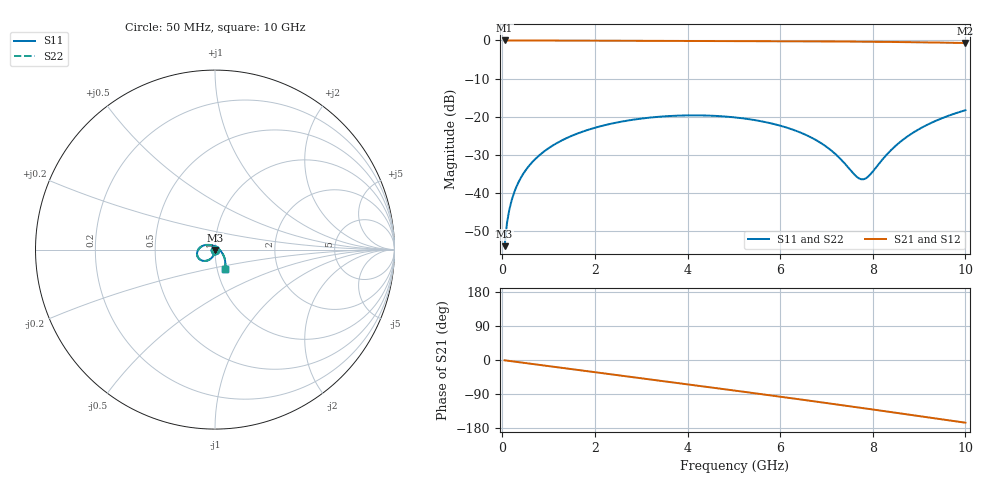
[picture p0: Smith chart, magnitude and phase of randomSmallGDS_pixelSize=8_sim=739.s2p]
! freq	dB(S11)	phase(S11)	dB(S12)	phase(S12)
!  dB(S21)	phase(S21)	dB(S22)	phase(S22)
!S-par simulation data
#  GHz  S  DB  R 50
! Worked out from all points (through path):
!   200 points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, 50 MHz to 10 GHz, reference 50 ohm
!   highest |S21| = 0.00 dB at 50 MHz (marker M1); lowest = -0.7 dB at 10 GHz (marker M2)
!   group delay of S21, straight-line fit = 45.8 ps
!   lowest |S11| = -53.9 dB at 50 MHz (marker M3), VSWR 1.00, Z = 50 - j0.202 ohm
!   |S11| at or under -10 dB: start of sweep to end of sweep
!   |S22| runs from -53.9 to -18.3 dB; largest |S21 - S12| = 0
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0.05  -53.89 -90.8  -0.00 -0.8  -0.00 -0.8  -53.89 -90.8
0.1  -47.92 -92.1  -0.00 -1.6  -0.00 -1.6  -47.92 -92.1
0.15  -44.44 -93.0  -0.01 -2.4  -0.01 -2.4  -44.44 -93.0
0.2  -41.97 -93.9  -0.01 -3.2  -0.01 -3.2  -41.97 -93.9
0.35  -37.15 -96.3  -0.01 -5.7  -0.01 -5.7  -37.15 -96.3
0.5  -34.08 -98.8  -0.01 -8.1  -0.01 -8.1  -34.08 -98.8
0.7  -31.21 -102.1  -0.02 -11.3  -0.02 -11.3  -31.21 -102.1
1  -28.22 -107.1  -0.02 -16.1  -0.02 -16.1  -28.22 -107.1
1.75  -23.82 -119.4  -0.05 -28.1  -0.05 -28.1  -23.82 -119.5
2.5  -21.43 -131.7  -0.07 -40.1  -0.07 -40.1  -21.43 -131.7
3.4  -19.97 -146.5  -0.11 -54.5  -0.11 -54.5  -19.97 -146.5
5.05  -20.19 -175.0  -0.16 -81.2  -0.16 -81.2  -20.19 -175.0
5.95  -22.16 167.6  -0.19 -95.9  -0.19 -95.9  -22.15 167.4
6.7  -25.60 149.3  -0.23 -108.5  -0.23 -108.5  -25.59 149.0
7.15  -29.29 132.2  -0.26 -116.1  -0.26 -116.1  -29.27 131.8
7.6  -35.08 91.6  -0.30 -123.8  -0.30 -123.8  -34.96 91.0
7.75  -36.37 63.3  -0.31 -126.3  -0.31 -126.3  -36.18 63.1
7.9  -35.67 32.4  -0.33 -128.9  -0.33 -128.9  -35.50 32.8
8.35  -29.27 -16.2  -0.38 -136.7  -0.38 -136.7  -29.22 -15.7
8.65  -26.03 -29.9  -0.43 -141.9  -0.43 -141.9  -26.00 -29.5
9.05  -22.89 -42.2  -0.49 -148.8  -0.49 -148.8  -22.87 -41.9
10  -18.28 -63.5  -0.67 -165.4  -0.67 -165.4  -18.27 -63.3
